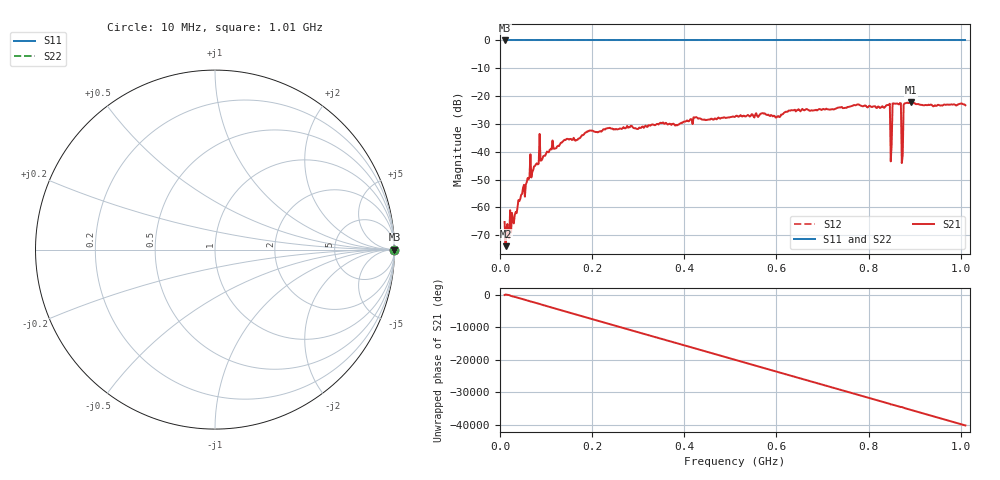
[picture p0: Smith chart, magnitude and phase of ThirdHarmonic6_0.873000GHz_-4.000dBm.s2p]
! 8/16/2025 4:47:53 AM
! C:\ANRITSUVNA\TEMP\TEMP.S2P
! CHANNEL.1
! TR.MEASUREMENT
! RAW.DATA
! RF.CORRECTION.OFF
! AVERAGING.OFF
! IF.BANDWIDTH: 5KHZ
! SWEEPTYPE:  FREQ.SWEEP(Linear)
! Reference Plane Port Info
! PORT:  PORT1  PORT2
! DISTANCE:  0  m  0  m
! TIME:  0  s  0  s
! PHASE.OFFSET:  0  deg.  0  deg.
! LOSS:  0  dB  0  dB
! REF.LOSS:  0  dB  0  dB
! REF.FREQ:  0  Hz  0  Hz
! Power Info
! POWER:  -20  dBm  -20  dBm
! EFF.POWER:  -20  dBm  -20  dBm
! SOURCE.ATTEN:  0  dB  0  dB
! TEST.ATTEN:  0  dB  0  dB
# GHZ S RI R 50.0
! FREQ.GHZ  S11RE  S11IM  S21RE  S21IM  S12RE  S12IM  S22RE  S22IM
!; PortSelection: Port_12
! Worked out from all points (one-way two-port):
!   501 points, 10 MHz to 1.01 GHz, reference 50 ohm
!   highest |S21| = -22.25 dB at 892 MHz (marker M1); lowest = -74.0 dB at 12 MHz (marker M2)
!   lowest |S11| = 0.0 dB at 10 MHz (marker M3)
!   |S11| at or under -10 dB: nowhere
!   |S22| runs from 0.0 to 0.0 dB; largest |S21 - S12| = 1.1
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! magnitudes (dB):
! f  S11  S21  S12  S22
! 10 MHz  0.0  -65.3  0.0  0.0
! 12 MHz  0.0  -74.0  0.0  0.0
! 16 MHz  0.0  -66.0  0.0  0.0
! 18 MHz  0.0  -70.5  0.0  0.0
! 58 MHz  0.0  -51.0  0.0  0.0
! 62 MHz  0.0  -50.0  0.0  0.0
! 82 MHz  0.0  -44.6  0.0  0.0
! 178 MHz  0.0  -34.1  0.0  0.0
! 344 MHz  0.0  -30.2  0.0  0.0
! 510 MHz  0.0  -27.5  0.0  0.0
! 678 MHz  0.0  -25.2  0.0  0.0
! 842 MHz  0.0  -23.2  0.0  0.0
! 844 MHz  0.0  -23.1  0.0  0.0
! 846 MHz  0.0  -22.8  0.0  0.0
! 852 MHz  0.0  -22.7  0.0  0.0
! 856 MHz  0.0  -22.7  0.0  0.0
! 866 MHz  0.0  -23.0  0.0  0.0
! 870 MHz  0.0  -22.6  0.0  0.0
! 876 MHz  0.0  -23.0  0.0  0.0
! 880 MHz  0.0  -22.6  0.0  0.0
! 892 MHz  0.0  -22.2  0.0  0.0
! 1.01 GHz  0.0  -23.3  0.0  0.0
